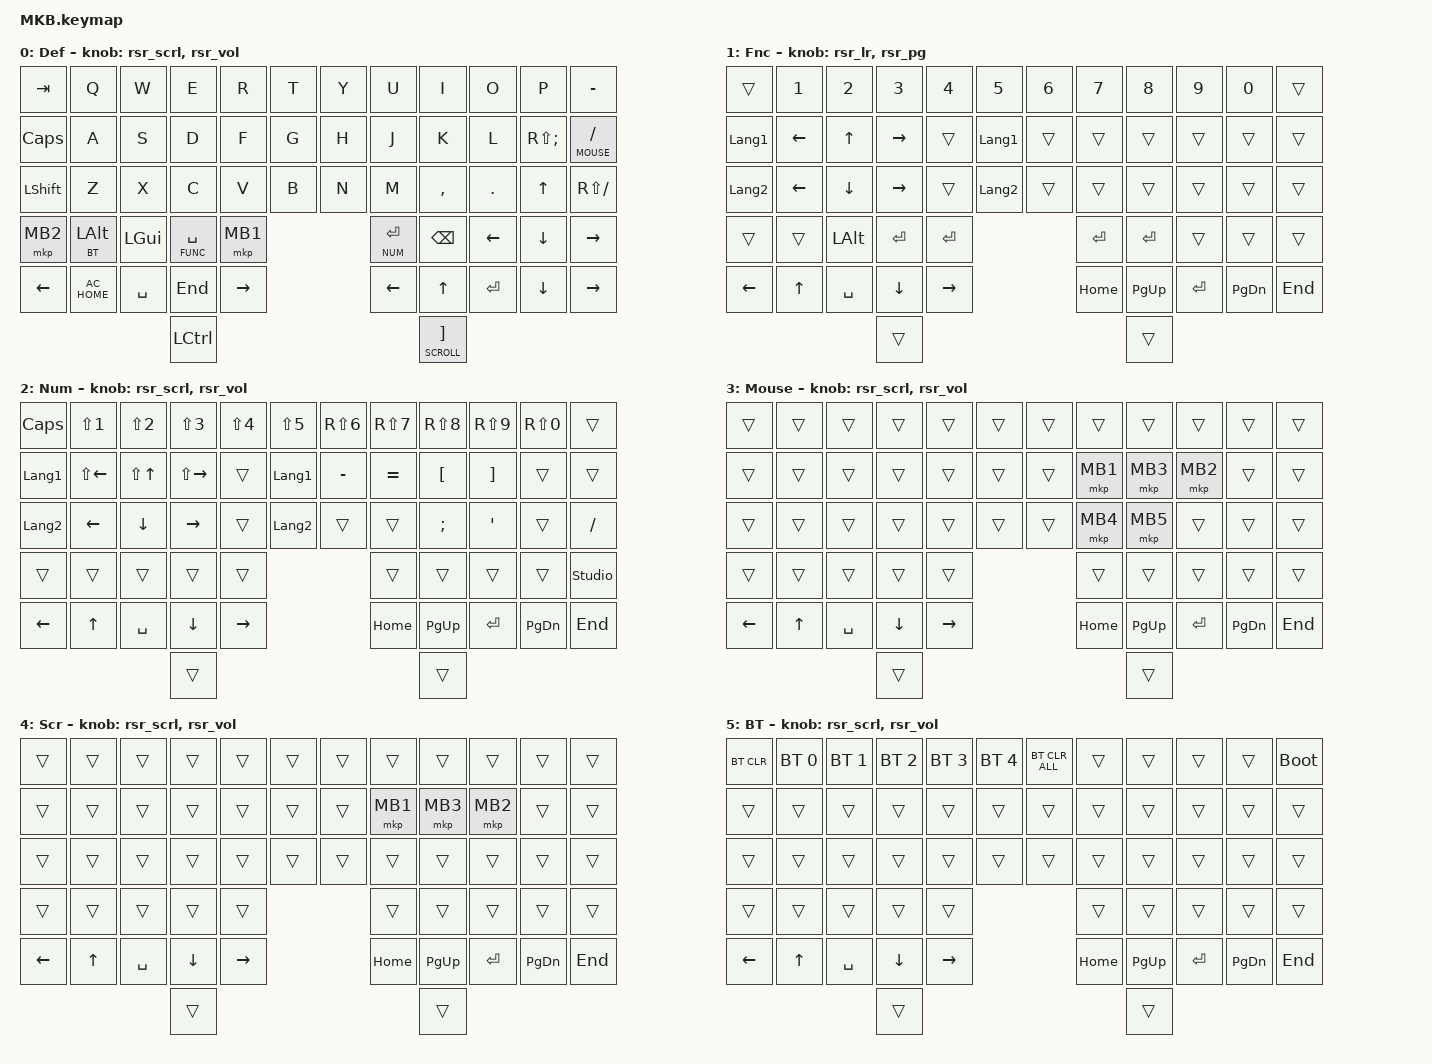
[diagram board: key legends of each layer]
// #include <layout_shift.dtsi>

#include <layout_shift_kp_override.dtsi>
#include <behaviors.dtsi>
#include <dt-bindings/zmk/bt.h>
#include <dt-bindings/zmk/keys.h>
#include <dt-bindings/zmk/pointing.h>
#include <behaviors/runtime-sensor-rotate.dtsi>

#define DEF 0
#define FUNC 1
#define NUM 2
#define MOUSE 3
#define SCROLL 4
#define BT 5

&mt {
    flavor = "balanced";
    tapping-term-ms = <280>;
    quick-tap-ms = <175>;
    require-prior-idle-ms = <150>;
};

/ {
    behaviors {
        // ロータリーエンコーダー（DYA Studioから変更可。以下は初期値）
        rsr_scrl: rsr_scrl {
            compatible = "zmk,behavior-runtime-sensor-rotate";
            #sensor-binding-cells = <0>;
            tap-ms = <20>;
            cw-binding = <&msc SCRL_DOWN>;
            ccw-binding = <&msc SCRL_UP>;
        };
        rsr_vol: rsr_vol {
            compatible = "zmk,behavior-runtime-sensor-rotate";
            #sensor-binding-cells = <0>;
            tap-ms = <5>;
            cw-binding = <&kp C_VOL_UP>;
            ccw-binding = <&kp C_VOL_DN>;
        };
        rsr_pg: rsr_pg {
            compatible = "zmk,behavior-runtime-sensor-rotate";
            #sensor-binding-cells = <0>;
            tap-ms = <5>;
            cw-binding = <&kp PG_DN>;
            ccw-binding = <&kp PG_UP>;
        };
        rsr_lr: rsr_lr {
            compatible = "zmk,behavior-runtime-sensor-rotate";
            #sensor-binding-cells = <0>;
            tap-ms = <5>;
            cw-binding = <&kp RIGHT>;
            ccw-binding = <&kp LEFT>;
        };
    };

    keymap {
        compatible = "zmk,keymap";

        default_layer {
            label = "Def";
            bindings = <
&kp TAB       &kp Q           &kp W         &kp E    &kp R        &kp T         &kp Y           &kp U          &kp I         &kp O      &kp P         &kp MINUS
&kp CAPSLOCK  &kp A           &kp S         &kp D    &kp F        &kp G         &kp H           &kp J          &kp K         &kp L      &kp RS(SEMI)  &lt MOUSE FSLH
&kp LSHFT     &kp Z           &kp X         &kp C    &kp V        &kp B         &kp N           &kp M          &kp COMMA     &kp DOT    &kp UP        &kp RS(FSLH)
&mkp MB2      &lt BT LEFT_ALT &kp LEFT_GUI           &lt FUNC SPACE &mkp MB1     &lt NUM ENTER  &kp BACKSPACE                &kp LEFT   &kp DOWN      &kp RIGHT
&kp LEFT      &kp C_AC_HOME   &kp SPACE     &kp END  &kp RIGHT                                  &kp LEFT       &kp UP_ARROW  &kp ENTER  &kp DOWN      &kp RIGHT
                                            &kp LCTRL                                                          &lt SCROLL RBKT
            >;

            sensor-bindings = <&rsr_scrl>, <&rsr_vol>;
        };

        function_layer {
            label = "Fnc";
            bindings = <
&trans          &kp NUMBER_1  &kp NUMBER_2  &kp NUMBER_3     &kp NUMBER_4  &kp N5              &kp NUMBER_6  &kp N7     &kp N8     &kp N9     &kp N0     &trans
&kp LANGUAGE_1  &kp LEFT      &kp UP_ARROW  &kp RIGHT        &trans        &kp LANGUAGE_1      &trans        &trans     &trans     &trans     &trans     &trans
&kp LANGUAGE_2  &kp LEFT      &kp DOWN      &kp RIGHT_ARROW  &trans        &kp LANGUAGE_2      &trans        &trans     &trans     &trans     &trans     &trans
&trans          &trans        &kp LALT                       &kp ENTER     &kp ENTER           &kp ENTER     &kp ENTER             &trans     &trans     &trans
&kp LEFT        &kp UP        &kp SPACE     &kp DOWN         &kp RIGHT                                       &kp HOME   &kp PG_UP  &kp ENTER  &kp PG_DN  &kp END
                                            &trans                                                                      &trans
            >;

            sensor-bindings = <&rsr_lr>, <&rsr_pg>;
        };

        num_layer {
            label = "Num";
            bindings = <
&kp CAPS        &kp LS(N1)    &kp LS(N2)  &kp LS(N3)     &kp LS(N4)  &kp LS(N5)          &kp RS(N6)  &kp RS(N7)  &kp RS(N8)  &kp RS(N9)  &kp RS(N0)  &trans
&kp LANGUAGE_1  &kp LS(LEFT)  &kp LS(UP)  &kp LS(RIGHT)  &trans      &kp LANGUAGE_1      &kp MINUS   &kp EQUAL   &kp LBKT    &kp RBKT    &trans      &trans
&kp LANGUAGE_2  &kp LEFT      &kp DOWN    &kp RIGHT      &trans      &kp LANGUAGE_2      &trans      &trans      &kp SEMI    &kp SQT     &trans      &kp SLASH
&trans          &trans        &trans                     &trans      &trans              &trans      &trans                  &trans      &trans      &studio_unlock
&kp LEFT        &kp UP        &kp SPACE   &kp DOWN       &kp RIGHT                                   &kp HOME    &kp PG_UP   &kp ENTER   &kp PG_DN   &kp END
                                          &trans                                                                 &trans
            >;

            sensor-bindings = <&rsr_scrl>, <&rsr_vol>;
        };

        mouse_layer {
            label = "Mouse";
            bindings = <
&trans    &trans  &trans     &trans    &trans     &trans      &trans  &trans    &trans     &trans     &trans     &trans
&trans    &trans  &trans     &trans    &trans     &trans      &trans  &mkp MB1  &mkp MB3   &mkp MB2   &trans     &trans
&trans    &trans  &trans     &trans    &trans     &trans      &trans  &mkp MB4  &mkp MB5   &trans     &trans     &trans
&trans    &trans  &trans               &trans     &trans      &trans  &trans               &trans     &trans     &trans
&kp LEFT  &kp UP  &kp SPACE  &kp DOWN  &kp RIGHT                      &kp HOME  &kp PG_UP  &kp ENTER  &kp PG_DN  &kp END
                             &trans                                             &trans
            >;

            sensor-bindings = <&rsr_scrl>, <&rsr_vol>;
        };

        scroll_layer {
            label = "Scr";
            bindings = <
&trans    &trans  &trans     &trans    &trans     &trans      &trans  &trans    &trans     &trans     &trans     &trans
&trans    &trans  &trans     &trans    &trans     &trans      &trans  &mkp MB1  &mkp MB3   &mkp MB2   &trans     &trans
&trans    &trans  &trans     &trans    &trans     &trans      &trans  &trans    &trans     &trans     &trans     &trans
&trans    &trans  &trans               &trans     &trans      &trans  &trans               &trans     &trans     &trans
&kp LEFT  &kp UP  &kp SPACE  &kp DOWN  &kp RIGHT                      &kp HOME  &kp PG_UP  &kp ENTER  &kp PG_DN  &kp END
                             &trans                                             &trans
            >;

            sensor-bindings = <&rsr_scrl>, <&rsr_vol>;
        };

        bt_layer {
            label = "BT";
            bindings = <
&bt BT_CLR  &bt BT_SEL 0  &bt BT_SEL 1  &bt BT_SEL 2  &bt BT_SEL 3  &bt BT_SEL 4      &bt BT_CLR_ALL  &trans    &trans     &trans     &trans     &bootloader
&trans      &trans        &trans        &trans        &trans        &trans            &trans          &trans    &trans     &trans     &trans     &trans
&trans      &trans        &trans        &trans        &trans        &trans            &trans          &trans    &trans     &trans     &trans     &trans
&trans      &trans        &trans                      &trans        &trans            &trans          &trans               &trans     &trans     &trans
&kp LEFT    &kp UP        &kp SPACE     &kp DOWN      &kp RIGHT                                       &kp HOME  &kp PG_UP  &kp ENTER  &kp PG_DN  &kp END
                                        &trans                                                                  &trans
            >;

            sensor-bindings = <&rsr_scrl>, <&rsr_vol>;
        };
    };
};
